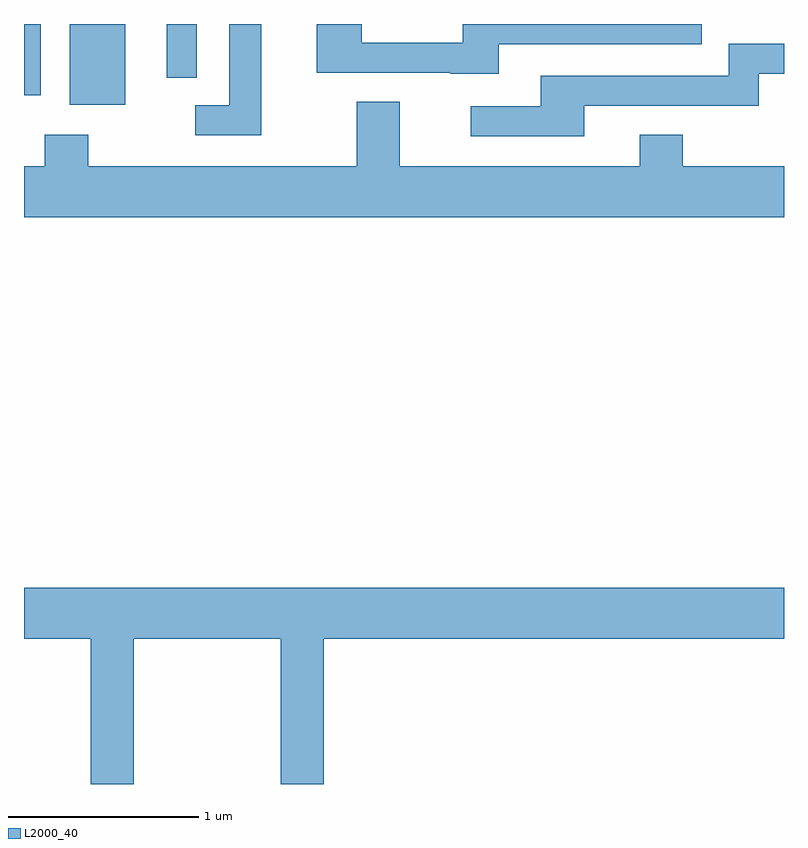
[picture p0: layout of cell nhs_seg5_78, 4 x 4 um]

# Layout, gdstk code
import gdstk
lib = gdstk.Library(unit=1e-6, precision=1e-09)
def R(c, l, rs):  # rectangles x0, y0, x1, y1
    for r in rs: c.add(gdstk.rectangle(r[:2], r[2:], *l))
def P(c, l, *ps):  # polygons
    for p in ps: c.add(gdstk.Polygon(p, *l))
L2000_40 = (2000, 40)

nhs_seg5_78 = lib.new_cell('nhs_seg5_78')
R(nhs_seg5_78, L2000_40, [(187.851,1419.646,188.144,1420.072), (187.611,1419.696,187.699,1420.072), (188.361,1419.788,188.519,1420.072)])
P(nhs_seg5_78, L2000_40, [(190.109,1419.966),(191.178,1419.966),(191.178,1420.072),(189.921,1420.072),(189.921,1419.974),(189.389,1419.974),(189.389,1420.072),(189.151,1420.072),(189.151,1419.816),(189.855,1419.816),(189.855,1419.811),(190.109,1419.811)],
  [(188.859,1420.072),(188.691,1420.072),(188.691,1419.644),(188.513,1419.644),(188.513,1419.486),(188.859,1419.486)],
  [(190.559,1419.641),(191.479,1419.641),(191.479,1419.811),(191.611,1419.811),(191.611,1419.969),(191.321,1419.969),(191.321,1419.799),(190.331,1419.799),(190.331,1419.639),(189.963,1419.639),(189.963,1419.481),(190.559,1419.481)],
  [(191.611,1419.324),(191.079,1419.324),(191.079,1419.489),(190.851,1419.489),(190.851,1419.324),(189.589,1419.324),(189.589,1419.664),(189.361,1419.664),(189.361,1419.324),(187.949,1419.324),(187.949,1419.489),(187.721,1419.489),(187.721,1419.324),(187.611,1419.324),(187.611,1419.056),(191.611,1419.056)],
  [(188.189,1416.836),(188.961,1416.836),(188.961,1416.072),(189.189,1416.072),(189.189,1416.836),(191.611,1416.836),(191.611,1417.104),(187.611,1417.104),(187.611,1416.836),(187.961,1416.836),(187.961,1416.072),(188.189,1416.072)])

lib.write_gds('nhs_seg5_78.gds')
